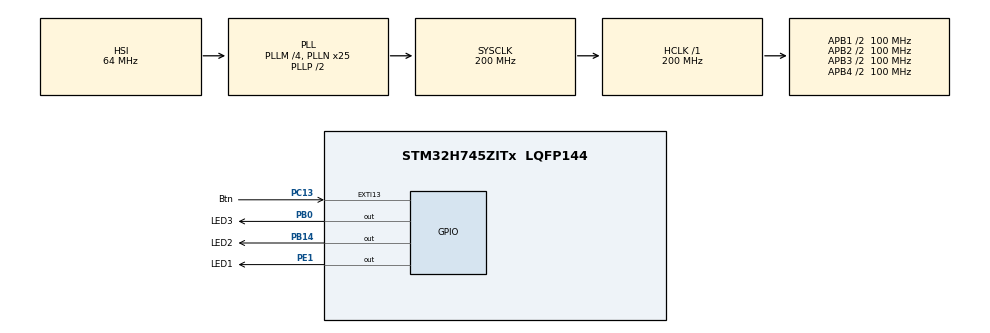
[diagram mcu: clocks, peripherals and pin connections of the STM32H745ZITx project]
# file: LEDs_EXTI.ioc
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CORTEX_M7.Enable-Cortex_Memory_Protection_Unit_Region0_Settings=MPU_REGION_ENABLE
CORTEX_M7.MPU_Control=MPU_PRIVILEGED_DEFAULT
CortexM4.IPs=BDMA,CORTEX_M4\:I,DMA,FATFS_M4\:I,FREERTOS_M4\:I,GPIO,IWDG2\:I,MDMA,NVIC2\:I,OPENAMP_M4\:I,PDM2PCM_M4\:I,PWR,RCC,RESMGR_UTILITY,SYS_M4\:I,USB_DEVICE_M4\:I,USB_HOST_M4\:I,VREFBUF,WWDG2\:I
CortexM7.IPs=BDMA\:I,CORTEX_M7\:I,DMA\:I,FATFS_M7\:I,FREERTOS_M7\:I,GPIO\:I,IWDG1\:I,MDMA\:I,NVIC1\:I,OPENAMP_M7\:I,PDM2PCM_M7\:I,PWR\:I,RCC\:I,RESMGR_UTILITY\:I,SYS\:I,USB_DEVICE_M7\:I,USB_HOST_M7\:I,VREFBUF\:I,WWDG1\:I,MEMORYMAP\:I,DEBUG\:I
CortexM7.Pins=PC13,PB0,PB14,PE1
Mcu.Family=STM32H7
Mcu.Name=STM32H745ZITx
Mcu.Package=LQFP144
NVIC1.EXTI15_10_IRQn=true\:1\:0\:true\:false\:true\:true\:true\:true
NVIC1.PriorityGroup=NVIC_PRIORITYGROUP_4
NVIC2.PriorityGroup=NVIC_PRIORITYGROUP_4
PA13\ (JTMS/SWDIO).Mode=Serial_Wire
PA13\ (JTMS/SWDIO).PinAttribute=CortexM7
PA13\ (JTMS/SWDIO).Signal=DEBUG_JTMS-SWDIO
PA14\ (JTCK/SWCLK).Mode=Serial_Wire
PA14\ (JTCK/SWCLK).PinAttribute=CortexM7
PA14\ (JTCK/SWCLK).Signal=DEBUG_JTCK-SWCLK
PB0.GPIO_Label=LED3
PB0.PinAttribute=CortexM7
PB0.Signal=GPIO_Output
PB14.GPIO_Label=LED2
PB14.PinAttribute=CortexM7
PB14.Signal=GPIO_Output
PC13.GPIO_Label=Btn
PC13.GPIO_PuPd=GPIO_NOPULL
PC13.PinAttribute=CortexM7
PC13.Signal=GPXTI13
PE1.GPIO_Label=LED1
PE1.PinAttribute=CortexM7
PE1.Signal=GPIO_Output
ProjectManager.HeapSize=M4-0x200,M7-0x200
ProjectManager.StackSize=M4-0x400,M7-0x400
ProjectManager.TargetToolchain=STM32CubeIDE
RCC.ADCFreq_Value=129000000
RCC.APB1Freq_Value=100000000
RCC.APB2Freq_Value=100000000
RCC.APB3Freq_Value=100000000
RCC.APB4Freq_Value=100000000
RCC.CortexFreq_Value=200000000
RCC.D1PPRE=RCC_APB3_DIV2
RCC.D2PPRE1=RCC_APB1_DIV2
RCC.D2PPRE2=RCC_APB2_DIV2
RCC.D3PPRE=RCC_APB4_DIV2
RCC.DIVM1=4
RCC.DIVN1=25
RCC.HCLKFreq_Value=200000000
RCC.PLL2FRACN=0
RCC.PLL3FRACN=0
RCC.PLLFRACN=0
RCC.SYSCLKFreq_VALUE=200000000
RCC.SYSCLKSource=RCC_SYSCLKSOURCE_PLLCLK
RCC.SupplySource=PWR_DIRECT_SMPS_SUPPLY
RCC.USBFreq_Value=200000000
SYS.userName=SYS_M7
VP_MEMORYMAP_VS_MEMORYMAP.Mode=CurAppReg
VP_SYS_M4_VS_Systick.Mode=SysTick
board=custom

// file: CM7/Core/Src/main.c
/* USER CODE BEGIN Header */
/**
  ******************************************************************************
  * @file           : main.c
  * @brief          : Main program body
  ******************************************************************************
  * @attention
  *
  * Copyright (c) 2024 STMicroelectronics.
  * All rights reserved.
  *
  * This software is licensed under terms that can be found in the LICENSE file
  * in the root directory of this software component.
  * If no LICENSE file comes with this software, it is provided AS-IS.
  *
  ******************************************************************************
  */
/* USER CODE END Header */
#include "main.h"

/* USER CODE BEGIN PD */

#ifndef HSEM_ID_0
#define HSEM_ID_0 (0U) /* HW semaphore 0*/
#endif

/* USER CODE END PD */

/* USER CODE BEGIN PV */
uint8_t count = 0;
/* USER CODE END PV */

void SystemClock_Config(void);
static void MPU_Config(void);
static void MX_GPIO_Init(void);

int main(void)
{

/* USER CODE BEGIN Boot_Mode_Sequence_0 */
  int32_t timeout;
/* USER CODE END Boot_Mode_Sequence_0 */

  /* MPU Configuration--------------------------------------------------------*/
  MPU_Config();

/* USER CODE BEGIN Boot_Mode_Sequence_1 */
  /* Wait until CPU2 boots and enters in stop mode or timeout*/
  timeout = 0xFFFF;
  while((__HAL_RCC_GET_FLAG(RCC_FLAG_D2CKRDY) != RESET) && (timeout-- > 0));
  if ( timeout < 0 )
  {
  Error_Handler();
  }
/* USER CODE END Boot_Mode_Sequence_1 */
  /* MCU Configuration--------------------------------------------------------*/

  /* Reset of all peripherals, Initializes the Flash interface and the Systick. */
  HAL_Init();

  /* Configure the system clock */
  SystemClock_Config();
/* USER CODE BEGIN Boot_Mode_Sequence_2 */
/* When system initialization is finished, Cortex-M7 will release Cortex-M4 by means of
HSEM notification */
/*HW semaphore Clock enable*/
__HAL_RCC_HSEM_CLK_ENABLE();
/*Take HSEM */
HAL_HSEM_FastTake(HSEM_ID_0);
/*Release HSEM in order to notify the CPU2(CM4)*/
HAL_HSEM_Release(HSEM_ID_0,0);
/* wait until CPU2 wakes up from stop mode */
timeout = 0xFFFF;
while((__HAL_RCC_GET_FLAG(RCC_FLAG_D2CKRDY) == RESET) && (timeout-- > 0));
if ( timeout < 0 )
{
Error_Handler();
}
/* USER CODE END Boot_Mode_Sequence_2 */

  /* Initialize all configured peripherals */
  MX_GPIO_Init();

  /* Infinite loop */
  while (1)
  {

  }
}

void SystemClock_Config(void)
{
  RCC_OscInitTypeDef RCC_OscInitStruct = {0};
  RCC_ClkInitTypeDef RCC_ClkInitStruct = {0};

  /** Supply configuration update enable
  */
  HAL_PWREx_ConfigSupply(PWR_DIRECT_SMPS_SUPPLY);

  /** Configure the main internal regulator output voltage
  */
  __HAL_PWR_VOLTAGESCALING_CONFIG(PWR_REGULATOR_VOLTAGE_SCALE3);

  while(!__HAL_PWR_GET_FLAG(PWR_FLAG_VOSRDY)) {}

  /** Initializes the RCC Oscillators according to the specified parameters
  * in the RCC_OscInitTypeDef structure.
  */
  RCC_OscInitStruct.OscillatorType = RCC_OSCILLATORTYPE_HSI;
  RCC_OscInitStruct.HSIState = RCC_HSI_DIV1;
  RCC_OscInitStruct.HSICalibrationValue = RCC_HSICALIBRATION_DEFAULT;
  RCC_OscInitStruct.PLL.PLLState = RCC_PLL_ON;
  RCC_OscInitStruct.PLL.PLLSource = RCC_PLLSOURCE_HSI;
  RCC_OscInitStruct.PLL.PLLM = 4;
  RCC_OscInitStruct.PLL.PLLN = 25;
  RCC_OscInitStruct.PLL.PLLP = 2;
  RCC_OscInitStruct.PLL.PLLQ = 2;
  RCC_OscInitStruct.PLL.PLLR = 2;
  RCC_OscInitStruct.PLL.PLLRGE = RCC_PLL1VCIRANGE_3;
  RCC_OscInitStruct.PLL.PLLVCOSEL = RCC_PLL1VCOWIDE;
  RCC_OscInitStruct.PLL.PLLFRACN = 0;
  if (HAL_RCC_OscConfig(&RCC_OscInitStruct) != HAL_OK)
  {
    Error_Handler();
  }

  /** Initializes the CPU, AHB and APB buses clocks
  */
  RCC_ClkInitStruct.ClockType = RCC_CLOCKTYPE_HCLK|RCC_CLOCKTYPE_SYSCLK
                              |RCC_CLOCKTYPE_PCLK1|RCC_CLOCKTYPE_PCLK2
                              |RCC_CLOCKTYPE_D3PCLK1|RCC_CLOCKTYPE_D1PCLK1;
  RCC_ClkInitStruct.SYSCLKSource = RCC_SYSCLKSOURCE_PLLCLK;
  RCC_ClkInitStruct.SYSCLKDivider = RCC_SYSCLK_DIV1;
  RCC_ClkInitStruct.AHBCLKDivider = RCC_HCLK_DIV1;
  RCC_ClkInitStruct.APB3CLKDivider = RCC_APB3_DIV2;
  RCC_ClkInitStruct.APB1CLKDivider = RCC_APB1_DIV2;
  RCC_ClkInitStruct.APB2CLKDivider = RCC_APB2_DIV2;
  RCC_ClkInitStruct.APB4CLKDivider = RCC_APB4_DIV2;

  if (HAL_RCC_ClockConfig(&RCC_ClkInitStruct, FLASH_LATENCY_4) != HAL_OK)
  {
    Error_Handler();
  }
}

static void MX_GPIO_Init(void)
{
  GPIO_InitTypeDef GPIO_InitStruct = {0};

  /* GPIO Ports Clock Enable */
  __HAL_RCC_GPIOC_CLK_ENABLE();
  __HAL_RCC_GPIOB_CLK_ENABLE();
  __HAL_RCC_GPIOA_CLK_ENABLE();
  __HAL_RCC_GPIOE_CLK_ENABLE();

  /*Configure GPIO pin Output Level */
  HAL_GPIO_WritePin(GPIOB, LED3_Pin|LED2_Pin, GPIO_PIN_RESET);

  /*Configure GPIO pin Output Level */
  HAL_GPIO_WritePin(LED1_GPIO_Port, LED1_Pin, GPIO_PIN_RESET);

  /*Configure GPIO pin : Btn_Pin */
  GPIO_InitStruct.Pin = Btn_Pin;
  GPIO_InitStruct.Mode = GPIO_MODE_IT_RISING;
  GPIO_InitStruct.Pull = GPIO_NOPULL;
  HAL_GPIO_Init(Btn_GPIO_Port, &GPIO_InitStruct);

  /*Configure GPIO pins : LED3_Pin LED2_Pin */
  GPIO_InitStruct.Pin = LED3_Pin|LED2_Pin;
  GPIO_InitStruct.Mode = GPIO_MODE_OUTPUT_PP;
  GPIO_InitStruct.Pull = GPIO_NOPULL;
  GPIO_InitStruct.Speed = GPIO_SPEED_FREQ_LOW;
  HAL_GPIO_Init(GPIOB, &GPIO_InitStruct);

  /*Configure GPIO pin : LED1_Pin */
  GPIO_InitStruct.Pin = LED1_Pin;
  GPIO_InitStruct.Mode = GPIO_MODE_OUTPUT_PP;
  GPIO_InitStruct.Pull = GPIO_NOPULL;
  GPIO_InitStruct.Speed = GPIO_SPEED_FREQ_LOW;
  HAL_GPIO_Init(LED1_GPIO_Port, &GPIO_InitStruct);

  /* EXTI interrupt init*/
  HAL_NVIC_SetPriority(Btn_EXTI_IRQn, 1, 0);
  HAL_NVIC_EnableIRQ(Btn_EXTI_IRQn);

}

/* USER CODE BEGIN 4 */
void HAL_GPIO_EXTI_Callback(uint16_t GPIO_Pin)
{
	if(GPIO_Pin == Btn_Pin)
	{
		count++;

		if(count == 1)
		{
			HAL_GPIO_WritePin(LED1_GPIO_Port, LED1_Pin, GPIO_PIN_SET);
			HAL_GPIO_WritePin(LED2_GPIO_Port, LED2_Pin, GPIO_PIN_RESET);
			HAL_GPIO_WritePin(LED3_GPIO_Port, LED3_Pin, GPIO_PIN_RESET);
		}
		else if(count == 2)
		{
			HAL_GPIO_WritePin(LED1_GPIO_Port, LED1_Pin, GPIO_PIN_RESET);
			HAL_GPIO_WritePin(LED2_GPIO_Port, LED2_Pin, GPIO_PIN_SET);
			HAL_GPIO_WritePin(LED3_GPIO_Port, LED3_Pin, GPIO_PIN_RESET);
		}
		else if(count == 3)
		{
			HAL_GPIO_WritePin(LED1_GPIO_Port, LED1_Pin, GPIO_PIN_RESET);
			HAL_GPIO_WritePin(LED2_GPIO_Port, LED2_Pin, GPIO_PIN_RESET);
			HAL_GPIO_WritePin(LED3_GPIO_Port, LED3_Pin, GPIO_PIN_SET);
		}
		else if(count == 4)
		{
			HAL_GPIO_WritePin(LED1_GPIO_Port, LED1_Pin, GPIO_PIN_SET);
			HAL_GPIO_WritePin(LED2_GPIO_Port, LED2_Pin, GPIO_PIN_SET);
			HAL_GPIO_WritePin(LED3_GPIO_Port, LED3_Pin, GPIO_PIN_SET);
		}
		else if(count == 5)
		{
			count = 0;
			HAL_GPIO_WritePin(LED1_GPIO_Port, LED1_Pin, GPIO_PIN_RESET);
			HAL_GPIO_WritePin(LED2_GPIO_Port, LED2_Pin, GPIO_PIN_RESET);
			HAL_GPIO_WritePin(LED3_GPIO_Port, LED3_Pin, GPIO_PIN_RESET);
		}
	}
}
/* USER CODE END 4 */

 /* MPU Configuration */

void MPU_Config(void)
{
  MPU_Region_InitTypeDef MPU_InitStruct = {0};

  /* Disables the MPU */
  HAL_MPU_Disable();

  /** Initializes and configures the Region and the memory to be protected
  */
  MPU_InitStruct.Enable = MPU_REGION_ENABLE;
  MPU_InitStruct.Number = MPU_REGION_NUMBER0;
  MPU_InitStruct.BaseAddress = 0x0;
  MPU_InitStruct.Size = MPU_REGION_SIZE_32B;
  MPU_InitStruct.SubRegionDisable = 0x0;
  MPU_InitStruct.TypeExtField = MPU_TEX_LEVEL0;
  MPU_InitStruct.AccessPermission = MPU_REGION_NO_ACCESS;
  MPU_InitStruct.DisableExec = MPU_INSTRUCTION_ACCESS_ENABLE;
  MPU_InitStruct.IsShareable = MPU_ACCESS_NOT_SHAREABLE;
  MPU_InitStruct.IsCacheable = MPU_ACCESS_NOT_CACHEABLE;
  MPU_InitStruct.IsBufferable = MPU_ACCESS_NOT_BUFFERABLE;

  HAL_MPU_ConfigRegion(&MPU_InitStruct);
  /* Enables the MPU */
  HAL_MPU_Enable(MPU_PRIVILEGED_DEFAULT);

}

void Error_Handler(void)
{
  __disable_irq();
  while (1)
  {
  }
}
